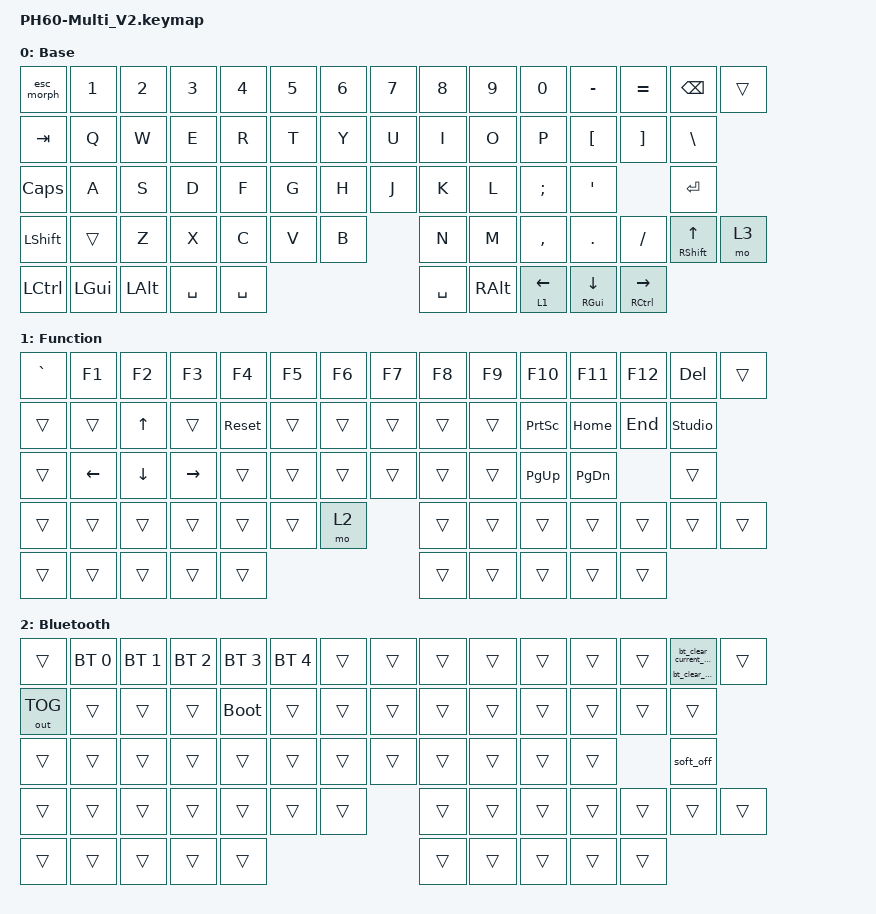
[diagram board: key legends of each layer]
/*
 * Copyright (c) 2025 Team PHDesign
 *
 * SPDX-License-Identifier: MIT
 */

#include <behaviors.dtsi>
#include <dt-bindings/zmk/keys.h>
#include <dt-bindings/zmk/bt.h>
#include <dt-bindings/zmk/outputs.h>
#include <dt-bindings/zmk/pointing.h>



/ {

    behaviors {

        // Macro to clear current BT profile (tap)
        bt_clear_current_macro: bt_clear_current_macro {
            compatible = "zmk,behavior-macro";
            #binding-cells = <0>;
            bindings = <&bt BT_CLR>;
        };

        // Macro to clear all BT profiles (hold)
        bt_clear_all_macro: bt_clear_all_macro {
            compatible = "zmk,behavior-macro";
            #binding-cells = <0>;
            bindings = <&bt BT_CLR_ALL>;
        };

        // Hold to clear all BT profiles, Tap to clear current
        bt_clear_holdtap: bt_clear_holdtap {
            compatible = "zmk,behavior-hold-tap";
            #binding-cells = <2>;
            flavor = "tap-preferred";
            tapping-term-ms = <3000>;
            bindings = <&bt_clear_all_macro>, <&bt_clear_current_macro>;
        };

        // for my ESC
        esc_morph: esc_morph {
            compatible = "zmk,behavior-mod-morph";
            #binding-cells = <0>;
            bindings = <&kp ESC>, <&kp TILDE>;
            mods = <(MOD_LSFT|MOD_RSFT)>;
        };
    };

    keymap {
        compatible = "zmk,keymap";

        default_layer {
            display-name = "Base";
            bindings = <
&esc_morph   &kp N1 &kp N2 &kp N3 &kp N4 &kp N5 &kp N6 &kp N7 &kp N8    &kp N9  &kp N0    &kp MINUS &kp EQUAL     &kp BSPC  &trans
&kp TAB   &kp Q  &kp W  &kp E  &kp R  &kp T  &kp Y  &kp U  &kp I     &kp O   &kp P     &kp LBKT  &kp RBKT      &kp BSLH
&kp CAPS  &kp A  &kp S  &kp D  &kp F  &kp G  &kp H  &kp J  &kp K     &kp L   &kp SEMI  &kp SQT                 &kp RET
&kp LSHFT &trans &kp Z  &kp X  &kp C  &kp V  &kp B  &kp N  &kp M     &kp COMMA &kp DOT &kp SLASH               &mt RSHFT UP &mo 3
&kp LCTRL &kp LGUI &kp LALT        &kp SPACE        &kp SPACE        &kp SPACE      &kp RALT  &lt 1 LEFT     &mt RGUI DOWN     &mt RCTRL RIGHT
            >;
        };

        function_layer {
            display-name = "Function";
            bindings = <
&kp GRAVE &kp F1    &kp F2    &kp F3          &kp F4    &kp F5    &kp F6    &kp F7    &kp F8    &kp F9    &kp F10   &kp F11   &kp F12       &kp DEL   &trans
&trans    &trans    &kp UP    &trans          &sys_reset  &trans  &trans    &trans    &trans    &trans    &kp PSCRN &kp HOME  &kp END       &studio_unlock
&trans    &kp LEFT  &kp DOWN  &kp RIGHT       &trans      &trans  &trans    &trans    &trans    &trans    &kp PG_UP &kp PG_DN               &trans
&trans    &trans    &trans    &trans          &trans      &trans  &mo 2     &trans    &trans    &trans    &trans    &trans                  &trans    &trans
&trans    &trans    &trans              &trans               &trans               &trans         &trans    &trans    &trans        &trans
            >;
        };

        bluetooth_layer {
            display-name = "Bluetooth";
            bindings = <
&trans       &bt BT_SEL 0  &bt BT_SEL 1  &bt BT_SEL 2  &bt BT_SEL 3  &bt BT_SEL 4  &trans  &trans  &trans  &trans  &trans  &trans  &trans  &bt_clear_holdtap 0 0  &trans
&out OUT_TOG &trans        &trans        &trans        &bootloader   &trans        &trans  &trans  &trans  &trans  &trans  &trans  &trans  &trans
&trans       &trans        &trans        &trans        &trans        &trans      &trans  &trans  &trans  &trans  &trans  &trans          &soft_off
&trans       &trans        &trans        &trans        &trans        &trans        &trans  &trans  &trans  &trans  &trans  &trans          &trans           &trans
&trans       &trans        &trans                  &trans               &trans               &trans         &trans    &trans    &trans        &trans
            >;
        };

        extra1 {
            display-name = "Extra 1";
            status = "reserved";
        };

        extra2 {
            display-name = "Extra 2";
            status = "reserved";
        };
    };
};
